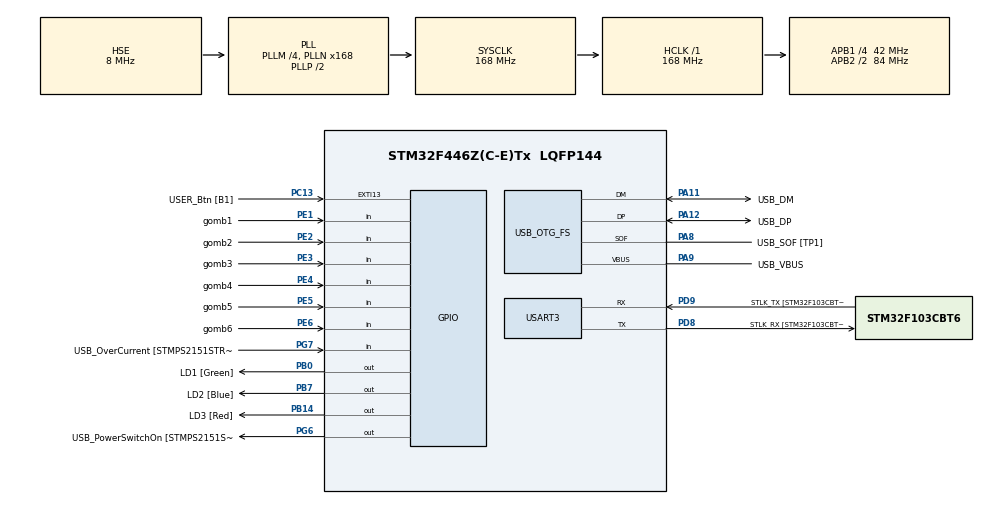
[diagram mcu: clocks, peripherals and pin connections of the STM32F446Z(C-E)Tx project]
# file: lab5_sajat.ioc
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Mcu.Family=STM32F4
Mcu.Name=STM32F446Z(C-E)Tx
Mcu.Package=LQFP144
NVIC.OTG_FS_IRQn=true\:0\:0\:false\:false\:true\:false\:true\:true
NVIC.PriorityGroup=NVIC_PRIORITYGROUP_4
PA10.GPIO_Label=USB_ID
PA10.Signal=USB_OTG_FS_ID
PA11.GPIO_Label=USB_DM
PA11.Mode=Device_Only
PA11.Signal=USB_OTG_FS_DM
PA12.GPIO_Label=USB_DP
PA12.Mode=Device_Only
PA12.Signal=USB_OTG_FS_DP
PA13.GPIO_Label=TMS
PA13.Mode=Serial_Wire
PA13.Signal=SYS_JTMS-SWDIO
PA14.GPIO_Label=TCK
PA14.Mode=Serial_Wire
PA14.Signal=SYS_JTCK-SWCLK
PA8.GPIO_Label=USB_SOF [TP1]
PA8.Mode=Activate_SOF_FS
PA8.Signal=USB_OTG_FS_SOF
PA9.GPIO_Label=USB_VBUS
PA9.Mode=Activate_VBUS
PA9.Signal=USB_OTG_FS_VBUS
PB0.GPIO_Label=LD1 [Green]
PB0.Signal=GPIO_Output
PB14.GPIO_Label=LD3 [Red]
PB14.Signal=GPIO_Output
PB7.GPIO_Label=LD2 [Blue]
PB7.Signal=GPIO_Output
PC13.GPIO_Label=USER_Btn [B1]
PC13.Signal=GPXTI13
PC14-OSC32_IN.Signal=RCC_OSC32_IN
PC15-OSC32_OUT.Signal=RCC_OSC32_OUT
PD8.GPIO_Label=STLK_RX [STM32F103CBT6_PA3]
PD8.Mode=Asynchronous
PD8.Signal=USART3_TX
PD9.GPIO_Label=STLK_TX [STM32F103CBT6_PA2]
PD9.Mode=Asynchronous
PD9.Signal=USART3_RX
PE1.GPIO_Label=gomb1
PE1.GPIO_PuPd=GPIO_PULLDOWN
PE1.Signal=GPIO_Input
PE2.GPIO_Label=gomb2
PE2.GPIO_PuPd=GPIO_PULLDOWN
PE2.Signal=GPIO_Input
PE3.GPIO_Label=gomb3
PE3.GPIO_PuPd=GPIO_PULLDOWN
PE3.Signal=GPIO_Input
PE4.GPIO_Label=gomb4
PE4.GPIO_PuPd=GPIO_PULLDOWN
PE4.Signal=GPIO_Input
PE5.GPIO_Label=gomb5
PE5.GPIO_PuPd=GPIO_PULLDOWN
PE5.Signal=GPIO_Input
PE6.GPIO_Label=gomb6
PE6.GPIO_PuPd=GPIO_PULLDOWN
PE6.Signal=GPIO_Input
PG6.GPIO_Label=USB_PowerSwitchOn [STMPS2151STR_EN]
PG6.Signal=GPIO_Output
PG7.GPIO_Label=USB_OverCurrent [STMPS2151STR_FAULT]
PG7.Signal=GPIO_Input
PH0-OSC_IN.GPIO_Label=MCO [STM32F103CBT6_PA8]
PH0-OSC_IN.Mode=HSE-External-Clock-Source
PH0-OSC_IN.Signal=RCC_OSC_IN
PH1-OSC_OUT.Mode=HSE-External-Clock-Source
PH1-OSC_OUT.Signal=RCC_OSC_OUT
ProjectManager.HeapSize=0x200
ProjectManager.StackSize=0x400
ProjectManager.TargetToolchain=STM32CubeIDE
RCC.48MHZClocksFreq_Value=24000000
RCC.AHBFreq_Value=168000000
RCC.APB1CLKDivider=RCC_HCLK_DIV4
RCC.APB1Freq_Value=42000000
RCC.APB1TimFreq_Value=84000000
RCC.APB2CLKDivider=RCC_HCLK_DIV2
RCC.APB2Freq_Value=84000000
RCC.APB2TimFreq_Value=168000000
RCC.CortexFreq_Value=168000000
RCC.HCLKFreq_Value=168000000
RCC.HSE_VALUE=8000000
RCC.HSI_VALUE=16000000
RCC.PLLM=4
RCC.PLLMUL=RCC_PLL_MUL9
RCC.PLLN=168
RCC.PLLQ=7
RCC.PRESCALERUSB=RCC_USBCLKSOURCE_PLL_DIV1_5
RCC.SYSCLKFreq_VALUE=168000000
RCC.SYSCLKSource=RCC_SYSCLKSOURCE_PLLCLK
RCC.SYSCLKSourceVirtual=RCC_SYSCLKSOURCE_PLLCLK
RCC.USBFreq_Value=48000000
RCC.VCOOutputFreq_Value=336000000
USART3.VirtualMode=VM_ASYNC
USB_DEVICE.CLASS_NAME_FS=HID
USB_DEVICE.VirtualMode-HID_FS=Hid
USB_DEVICE.VirtualModeFS=Hid_FS
USB_OTG_FS.VirtualMode=Device_Only
VP_USB_DEVICE_VS_USB_DEVICE_HID_FS.Mode=HID_FS
board=NUCLEO-F446ZE

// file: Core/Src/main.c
/* USER CODE BEGIN Header */
/**
  ******************************************************************************
  * @file           : main.c
  * @brief          : Main program body
  ******************************************************************************
  * @attention
  *
  * Copyright (c) 2026 STMicroelectronics.
  * All rights reserved.
  *
  * This software is licensed under terms that can be found in the LICENSE file
  * in the root directory of this software component.
  * If no LICENSE file comes with this software, it is provided AS-IS.
  *
  ******************************************************************************
  */
/* USER CODE END Header */
#include "main.h"
#include "usb_device.h"

/* USER CODE BEGIN Includes */
#include "usbd_hid.h"
/* USER CODE END Includes */

/* USER CODE BEGIN PD */

#define MOUSE_STEP_SIZE 4

#define BTN_UP_GPIO_Port       GPIOE
#define BTN_UP_Pin             gomb1_Pin

#define BTN_DOWN_GPIO_Port     GPIOE
#define BTN_DOWN_Pin           gomb2_Pin

#define BTN_LEFT_GPIO_Port     GPIOE
#define BTN_LEFT_Pin           gomb3_Pin

#define BTN_RIGHT_GPIO_Port    GPIOE
#define BTN_RIGHT_Pin          gomb4_Pin

#define BTN_LEFT_CLICK_GPIO_Port   GPIOE
#define BTN_LEFT_CLICK_Pin         gomb5_Pin

#define BTN_RIGHT_CLICK_GPIO_Port  GPIOE
#define BTN_RIGHT_CLICK_Pin        gomb6_Pin

/* USER CODE END PD */

UART_HandleTypeDef huart3;

void SystemClock_Config(void);
static void MX_GPIO_Init(void);
static void MX_USART3_UART_Init(void);

/* USER CODE BEGIN 0 */

struct mouse_report_t
{
    uint8_t buttons;
    int8_t x;
    int8_t y;
    int8_t wheel;
};

struct mouse_report_t mouseHID;

extern USBD_HandleTypeDef hUsbDeviceFS;

/* USER CODE END 0 */

int main(void)
{

  /* MCU Configuration--------------------------------------------------------*/

  /* Reset of all peripherals, Initializes the Flash interface and the Systick. */
  HAL_Init();

  /* Configure the system clock */
  SystemClock_Config();

  /* Initialize all configured peripherals */
  MX_GPIO_Init();
  MX_USART3_UART_Init();
  MX_USB_DEVICE_Init();
  /* USER CODE BEGIN 2 */

  mouseHID.buttons = 0;
  mouseHID.x = 0;
  mouseHID.y = 0;
  mouseHID.wheel = 0;

  /* USER CODE END 2 */

  /* Infinite loop */
  while (1)
  {

      /* USER CODE BEGIN 3 */

      mouseHID.buttons = 0;
      mouseHID.x = 0;
      mouseHID.y = 0;
      mouseHID.wheel = 0;

      if (HAL_GPIO_ReadPin(BTN_LEFT_CLICK_GPIO_Port, BTN_LEFT_CLICK_Pin) == GPIO_PIN_SET)
      {
          mouseHID.buttons |= 0x01;
      }

      if (HAL_GPIO_ReadPin(BTN_RIGHT_CLICK_GPIO_Port, BTN_RIGHT_CLICK_Pin) == GPIO_PIN_SET)
      {
          mouseHID.buttons |= 0x02;
      }

      if (HAL_GPIO_ReadPin(BTN_UP_GPIO_Port, BTN_UP_Pin) == GPIO_PIN_SET)
      {
          mouseHID.y = -MOUSE_STEP_SIZE;
      }

      if (HAL_GPIO_ReadPin(BTN_DOWN_GPIO_Port, BTN_DOWN_Pin) == GPIO_PIN_SET)
      {
          mouseHID.y = MOUSE_STEP_SIZE;
      }

      if (HAL_GPIO_ReadPin(BTN_LEFT_GPIO_Port, BTN_LEFT_Pin) == GPIO_PIN_SET)
      {
          mouseHID.x = -MOUSE_STEP_SIZE;
      }

      if (HAL_GPIO_ReadPin(BTN_RIGHT_GPIO_Port, BTN_RIGHT_Pin) == GPIO_PIN_SET)
      {
          mouseHID.x = MOUSE_STEP_SIZE;
      }

      USBD_HID_SendReport(&hUsbDeviceFS,
                          (uint8_t *)&mouseHID,
                          sizeof(mouseHID));

      HAL_Delay(20);
  }
  /* USER CODE END 3 */
}

void SystemClock_Config(void)
{
  RCC_OscInitTypeDef RCC_OscInitStruct = {0};
  RCC_ClkInitTypeDef RCC_ClkInitStruct = {0};

  /** Configure the main internal regulator output voltage
  */
  __HAL_RCC_PWR_CLK_ENABLE();
  __HAL_PWR_VOLTAGESCALING_CONFIG(PWR_REGULATOR_VOLTAGE_SCALE1);

  /** Initializes the RCC Oscillators according to the specified parameters
  * in the RCC_OscInitTypeDef structure.
  */
  RCC_OscInitStruct.OscillatorType = RCC_OSCILLATORTYPE_HSE;
  RCC_OscInitStruct.HSEState = RCC_HSE_BYPASS;
  RCC_OscInitStruct.PLL.PLLState = RCC_PLL_ON;
  RCC_OscInitStruct.PLL.PLLSource = RCC_PLLSOURCE_HSE;
  RCC_OscInitStruct.PLL.PLLM = 4;
  RCC_OscInitStruct.PLL.PLLN = 168;
  RCC_OscInitStruct.PLL.PLLP = RCC_PLLP_DIV2;
  RCC_OscInitStruct.PLL.PLLQ = 7;
  RCC_OscInitStruct.PLL.PLLR = 2;
  if (HAL_RCC_OscConfig(&RCC_OscInitStruct) != HAL_OK)
  {
    Error_Handler();
  }

  /** Initializes the CPU, AHB and APB buses clocks
  */
  RCC_ClkInitStruct.ClockType = RCC_CLOCKTYPE_HCLK|RCC_CLOCKTYPE_SYSCLK
                              |RCC_CLOCKTYPE_PCLK1|RCC_CLOCKTYPE_PCLK2;
  RCC_ClkInitStruct.SYSCLKSource = RCC_SYSCLKSOURCE_PLLCLK;
  RCC_ClkInitStruct.AHBCLKDivider = RCC_SYSCLK_DIV1;
  RCC_ClkInitStruct.APB1CLKDivider = RCC_HCLK_DIV4;
  RCC_ClkInitStruct.APB2CLKDivider = RCC_HCLK_DIV2;

  if (HAL_RCC_ClockConfig(&RCC_ClkInitStruct, FLASH_LATENCY_5) != HAL_OK)
  {
    Error_Handler();
  }
}

static void MX_USART3_UART_Init(void)
{

  huart3.Instance = USART3;
  huart3.Init.BaudRate = 115200;
  huart3.Init.WordLength = UART_WORDLENGTH_8B;
  huart3.Init.StopBits = UART_STOPBITS_1;
  huart3.Init.Parity = UART_PARITY_NONE;
  huart3.Init.Mode = UART_MODE_TX_RX;
  huart3.Init.HwFlowCtl = UART_HWCONTROL_NONE;
  huart3.Init.OverSampling = UART_OVERSAMPLING_16;
  if (HAL_UART_Init(&huart3) != HAL_OK)
  {
    Error_Handler();
  }

}

static void MX_GPIO_Init(void)
{
  GPIO_InitTypeDef GPIO_InitStruct = {0};

  /* GPIO Ports Clock Enable */
  __HAL_RCC_GPIOE_CLK_ENABLE();
  __HAL_RCC_GPIOC_CLK_ENABLE();
  __HAL_RCC_GPIOH_CLK_ENABLE();
  __HAL_RCC_GPIOB_CLK_ENABLE();
  __HAL_RCC_GPIOD_CLK_ENABLE();
  __HAL_RCC_GPIOG_CLK_ENABLE();
  __HAL_RCC_GPIOA_CLK_ENABLE();

  /*Configure GPIO pin Output Level */
  HAL_GPIO_WritePin(GPIOB, LD1_Pin|LD3_Pin|LD2_Pin, GPIO_PIN_RESET);

  /*Configure GPIO pin Output Level */
  HAL_GPIO_WritePin(USB_PowerSwitchOn_GPIO_Port, USB_PowerSwitchOn_Pin, GPIO_PIN_RESET);

  /*Configure GPIO pins : gomb2_Pin gomb3_Pin gomb4_Pin gomb5_Pin
                           gomb6_Pin gomb1_Pin */
  GPIO_InitStruct.Pin = gomb2_Pin|gomb3_Pin|gomb4_Pin|gomb5_Pin
                          |gomb6_Pin|gomb1_Pin;
  GPIO_InitStruct.Mode = GPIO_MODE_INPUT;
  GPIO_InitStruct.Pull = GPIO_PULLDOWN;
  HAL_GPIO_Init(GPIOE, &GPIO_InitStruct);

  /*Configure GPIO pin : USER_Btn_Pin */
  GPIO_InitStruct.Pin = USER_Btn_Pin;
  GPIO_InitStruct.Mode = GPIO_MODE_IT_RISING;
  GPIO_InitStruct.Pull = GPIO_NOPULL;
  HAL_GPIO_Init(USER_Btn_GPIO_Port, &GPIO_InitStruct);

  /*Configure GPIO pins : LD1_Pin LD3_Pin LD2_Pin */
  GPIO_InitStruct.Pin = LD1_Pin|LD3_Pin|LD2_Pin;
  GPIO_InitStruct.Mode = GPIO_MODE_OUTPUT_PP;
  GPIO_InitStruct.Pull = GPIO_NOPULL;
  GPIO_InitStruct.Speed = GPIO_SPEED_FREQ_LOW;
  HAL_GPIO_Init(GPIOB, &GPIO_InitStruct);

  /*Configure GPIO pin : USB_PowerSwitchOn_Pin */
  GPIO_InitStruct.Pin = USB_PowerSwitchOn_Pin;
  GPIO_InitStruct.Mode = GPIO_MODE_OUTPUT_PP;
  GPIO_InitStruct.Pull = GPIO_NOPULL;
  GPIO_InitStruct.Speed = GPIO_SPEED_FREQ_LOW;
  HAL_GPIO_Init(USB_PowerSwitchOn_GPIO_Port, &GPIO_InitStruct);

  /*Configure GPIO pin : USB_OverCurrent_Pin */
  GPIO_InitStruct.Pin = USB_OverCurrent_Pin;
  GPIO_InitStruct.Mode = GPIO_MODE_INPUT;
  GPIO_InitStruct.Pull = GPIO_NOPULL;
  HAL_GPIO_Init(USB_OverCurrent_GPIO_Port, &GPIO_InitStruct);

}

void Error_Handler(void)
{
  __disable_irq();
  while (1)
  {
  }
}
